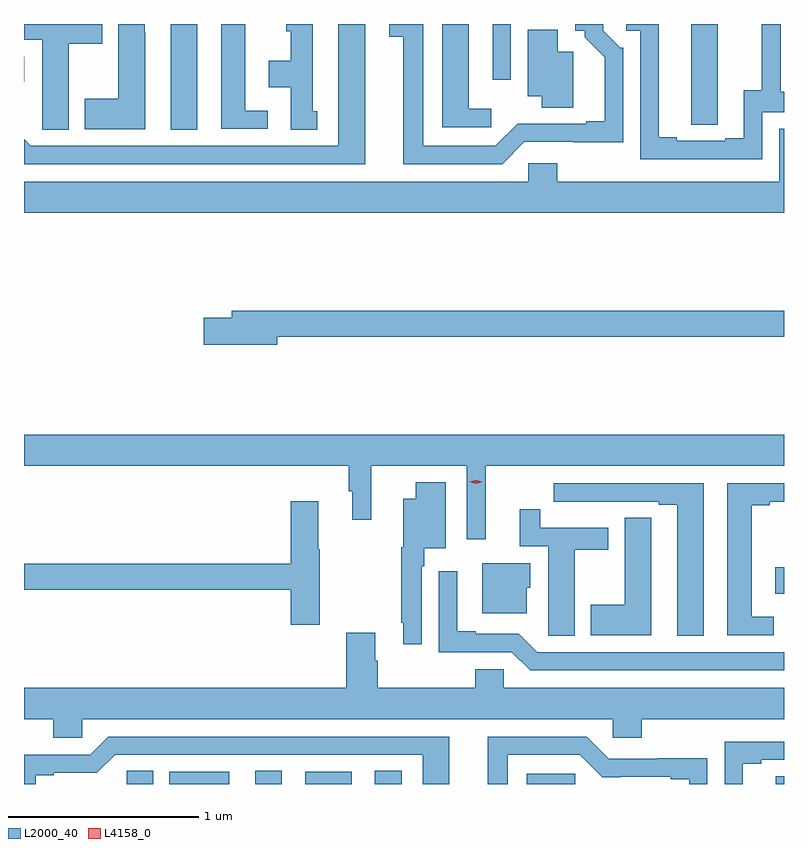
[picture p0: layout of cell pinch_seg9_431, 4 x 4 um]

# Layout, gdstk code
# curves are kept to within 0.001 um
import gdstk
lib = gdstk.Library(unit=1e-6, precision=1e-09)
def R(c, l, rs):  # rectangles x0, y0, x1, y1
    for r in rs: c.add(gdstk.rectangle(r[:2], r[2:], *l))
def P(c, l, *ps):  # polygons
    for p in ps: c.add(gdstk.Polygon(p, *l))
L2000_40 = (2000, 40)
L4158_0 = (4158, 0)

pinch_seg9_431 = lib.new_cell('pinch_seg9_431')
R(pinch_seg9_431, L2000_40, [(144.951,1196.078,145.09,1196.147), (145.175,1196.078,145.492,1196.143), (145.628,1196.078,145.768,1196.147), (145.892,1196.078,146.137,1196.142), (146.258,1196.078,146.398,1196.147), (147.056,1196.078,147.313,1196.133), (148.367,1196.078,148.411,1196.12), (148.364,1197.08,148.411,1197.22), (145.184,1199.521,145.324,1200.078), (144.411,1199.775,144.412,1199.905), (146.877,1199.784,146.973,1200.078)])
P(pinch_seg9_431, L2000_40, [(146.869,1199.632),(146.752,1199.632),(146.752,1200.035),(146.751,1200.035),(146.751,1200.078),(146.612,1200.078),(146.612,1199.535),(146.869,1199.535)],
  [(146.206,1200.078),(146.066,1200.078),(146.066,1199.436),(144.447,1199.436),(144.411,1199.472),(144.411,1199.34),(146.206,1199.34)],
  [(145.048,1200.035),(145.047,1200.035),(145.047,1200.078),(144.908,1200.078),(144.908,1199.685),(144.731,1199.685),(144.731,1199.525),(145.048,1199.525)],
  [(145.954,1199.619),(145.93,1199.619),(145.93,1200.078),(145.79,1200.078),(145.79,1200.039),(145.814,1200.039),(145.814,1199.884),(145.7,1199.884),(145.7,1199.744),(145.814,1199.744),(145.814,1199.521),(145.954,1199.521)],
  [(145.693,1199.622),(145.576,1199.622),(145.576,1200.078),(145.448,1200.078),(145.448,1199.526),(145.693,1199.526)],
  [(148.062,1199.656),(148.063,1199.656),(148.063,1200.078),(147.923,1200.078),(147.923,1199.548),(148.062,1199.548)],
  [(144.646,1199.974),(144.823,1199.974),(144.823,1200.078),(144.411,1200.078),(144.411,1199.994),(144.506,1199.994),(144.506,1199.632),(144.507,1199.632),(144.507,1199.521),(144.646,1199.521)],
  [(148.296,1199.613),(148.411,1199.613),(148.411,1199.722),(148.394,1199.722),(148.394,1200.078),(148.294,1200.078),(148.294,1199.729),(148.199,1199.729),(148.199,1199.478),(148.103,1199.478),(148.103,1199.463),(147.847,1199.463),(147.847,1199.483),(147.751,1199.483),(147.751,1200.078),(147.582,1200.078),(147.582,1200.042),(147.654,1200.042),(147.654,1199.367),(148.296,1199.367)],
  [(147.045,1199.457),(147.564,1199.456),(147.564,1199.952),(147.549,1199.952),(147.459,1200.042),(147.459,1200.078),(147.312,1200.078),(147.312,1200.042),(147.362,1200.042),(147.362,1200.007),(147.467,1199.902),(147.467,1199.566),(147.371,1199.566),(147.371,1199.553),(147.01,1199.554),(146.892,1199.436),(146.512,1199.436),(146.512,1200.078),(146.334,1200.078),(146.334,1200.01),(146.408,1200.01),(146.408,1199.34),(146.928,1199.34)],
  [(147.301,1199.932),(147.22,1199.932),(147.22,1200.047),(147.062,1200.047),(147.062,1199.699),(147.137,1199.699),(147.137,1199.638),(147.301,1199.638)],
  [(148.411,1199.528),(148.385,1199.528),(148.385,1199.248),(147.218,1199.248),(147.218,1199.346),(147.066,1199.346),(147.066,1199.248),(144.411,1199.248),(144.411,1199.084),(148.411,1199.084)],
  [(145.744,1198.432),(148.411,1198.432),(148.411,1198.568),(145.505,1198.568),(145.505,1198.532),(145.356,1198.532),(145.356,1198.39),(145.744,1198.39)],
  [(146.84,1197.752),(148.411,1197.752),(148.411,1197.916),(144.411,1197.916),(144.411,1197.752),(146.119,1197.752),(146.119,1197.618),(146.138,1197.618),(146.138,1197.468),(146.238,1197.468),(146.238,1197.752),(146.742,1197.752),(146.742,1197.366),(146.84,1197.366)],
  [(146.505,1197.224),(146.518,1197.224),(146.518,1197.32),(146.632,1197.32),(146.632,1197.667),(146.474,1197.667),(146.474,1197.58),(146.408,1197.58),(146.408,1197.324),(146.397,1197.324),(146.397,1196.926),(146.408,1196.926),(146.408,1196.814),(146.505,1196.814)],
  [(148.357,1196.958),(148.24,1196.958),(148.24,1197.544),(148.336,1197.544),(148.336,1197.564),(148.411,1197.564),(148.411,1197.66),(148.112,1197.66),(148.112,1196.862),(148.357,1196.862)],
  [(147.988,1197.66),(147.198,1197.66),(147.198,1197.564),(147.31,1197.564),(147.31,1197.563),(147.476,1197.563),(147.476,1197.564),(147.752,1197.564),(147.752,1197.549),(147.848,1197.549),(147.848,1196.857),(147.988,1196.857)],
  [(145.968,1197.313),(145.96,1197.313),(145.96,1197.565),(145.814,1197.565),(145.814,1197.236),(144.411,1197.236),(144.411,1197.1),(145.814,1197.1),(145.814,1196.916),(145.968,1196.916)],
  [(147.31,1197.31),(147.487,1197.31),(147.487,1197.426),(147.128,1197.426),(147.128,1197.523),(147.02,1197.523),(147.02,1197.33),(147.17,1197.33),(147.17,1196.968),(147.171,1196.968),(147.171,1196.857),(147.31,1196.857)],
  [(147.712,1197.371),(147.711,1197.371),(147.711,1197.479),(147.572,1197.479),(147.572,1197.021),(147.395,1197.021),(147.395,1196.861),(147.712,1196.861)],
  [(147.058,1197.111),(147.076,1197.111),(147.076,1197.241),(146.822,1197.241),(146.822,1196.978),(147.058,1196.978)],
  [(148.411,1196.772),(147.111,1196.772),(147.015,1196.868),(146.788,1196.868),(146.788,1196.881),(146.692,1196.881),(146.692,1197.199),(146.595,1197.199),(146.595,1196.772),(146.979,1196.772),(147.075,1196.676),(148.411,1196.676)],
  [(144.717,1196.42),(147.51,1196.42),(147.51,1196.322),(147.662,1196.322),(147.662,1196.42),(148.411,1196.42),(148.411,1196.584),(146.937,1196.584),(146.937,1196.682),(146.786,1196.682),(146.786,1196.584),(146.273,1196.584),(146.273,1196.726),(146.26,1196.726),(146.26,1196.875),(146.108,1196.875),(146.108,1196.584),(144.411,1196.584),(144.411,1196.42),(144.566,1196.42),(144.566,1196.322),(144.717,1196.322)],
  [(144.472,1196.124),(144.568,1196.124),(144.568,1196.136),(144.795,1196.136),(144.891,1196.232),(146.51,1196.232),(146.51,1196.078),(146.65,1196.078),(146.65,1196.328),(144.855,1196.328),(144.759,1196.232),(144.411,1196.232),(144.411,1196.078),(144.472,1196.078)],
  [(146.956,1196.232),(147.336,1196.232),(147.454,1196.114),(147.815,1196.115),(147.815,1196.103),(147.911,1196.103),(147.911,1196.078),(148.008,1196.078),(148.008,1196.213),(147.745,1196.213),(147.745,1196.211),(147.489,1196.211),(147.372,1196.328),(146.852,1196.328),(146.852,1196.078),(146.956,1196.078)],
  [(148.195,1196.185),(148.291,1196.185),(148.291,1196.205),(148.411,1196.205),(148.411,1196.301),(148.098,1196.301),(148.098,1196.078),(148.195,1196.078)])
P(pinch_seg9_431, L4158_0, [(146.79,1197.658),(146.755,1197.668),(146.755,1197.668),(146.755,1197.668),(146.79,1197.678),(146.824,1197.668),(146.824,1197.668),(146.824,1197.668)])

lib.write_gds('pinch_seg9_431.gds')
